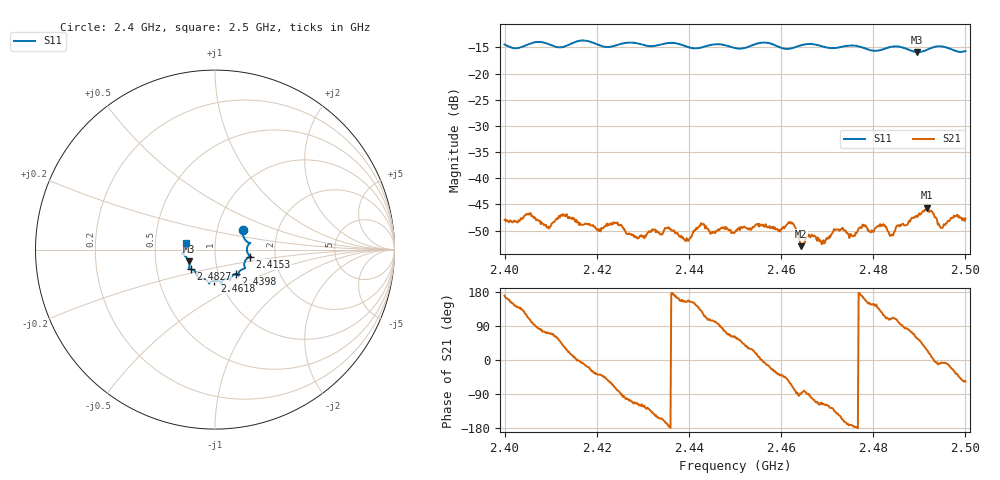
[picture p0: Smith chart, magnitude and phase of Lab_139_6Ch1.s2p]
# Hz S RI R 50
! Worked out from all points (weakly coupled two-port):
!   601 points, 2.4 GHz to 2.5 GHz, reference 50 ohm
!   highest |S21| = -45.61 dB at 2.4917 GHz (marker M1); lowest = -53.0 dB at 2.4643 GHz (marker M2)
!   lowest |S11| = -15.9 dB at 2.4895 GHz (marker M3), VSWR 1.38, Z = 37 - j5.02 ohm
!   |S11| at or under -10 dB: start of sweep to end of sweep
!   S12 and S22 are empty: the file has one direction only
!   S11 on the Smith chart (normalised r, x): 2.4 GHz: 1.33, +0.30; 2.4153 GHz: 1.48, -0.12; 2.4398 GHz: 1.21, -0.34; 2.4618 GHz: 0.94, -0.33; 2.4827 GHz: 0.75, -0.17; 2.5 GHz: 0.72, +0.06
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2.4e9  0.1556 0.1072  -0.00395 0.000693  0 0  0 0
2.4095e9  0.1886 0.0305  0.00107 0.00328  0 0  0 0
2.415333e9  0.196 -0.0389  0.00384 0.000287  0 0  0 0
2.416667e9  0.202 -0.0429  0.00356 -0.000488  0 0  0 0
2.424167e9  0.1628 -0.089  0.00093 -0.00366  0 0  0 0
2.428667e9  0.164 -0.1047  -0.00118 -0.00248  0 0  0 0
2.433333e9  0.1306 -0.1335  -0.00271 -0.00141  0 0  0 0
2.439833e9  0.1156 -0.1358  -0.00233 0.000971  0 0  0 0
2.442833e9  0.09 -0.1531  -0.00219 0.00287  0 0  0 0
2.45e9  0.0654 -0.1626  0.00143 0.00271  0 0  0 0
2.461833e9  -0.00289 -0.1726  0.00192 -0.00321  0 0  0 0
2.464333e9  -0.0297 -0.1839  6.28e-05 -0.00225  0 0  0 0
2.466667e9  -0.0344 -0.1881  -0.000535 -0.00285  0 0  0 0
2.469e9  -0.04 -0.1769  -0.00112 -0.00217  0 0  0 0
2.472e9  -0.0701 -0.1612  -0.00248 -0.0021  0 0  0 0
2.475333e9  -0.0937 -0.16  -0.00282 -0.000413  0 0  0 0
2.482667e9  -0.135 -0.1091  -0.00135 0.00315  0 0  0 0
2.483333e9  -0.1401 -0.1088  -0.000961 0.00292  0 0  0 0
2.4895e9  -0.1457 -0.0662  0.00242 0.00367  0 0  0 0
2.491667e9  -0.1645 -0.0376  0.0047 0.00233  0 0  0 0
2.494667e9  -0.1805 -0.0208  0.00333 -0.000525  0 0  0 0
2.5e9  -0.1591 0.0388  0.00225 -0.00347  0 0  0 0
